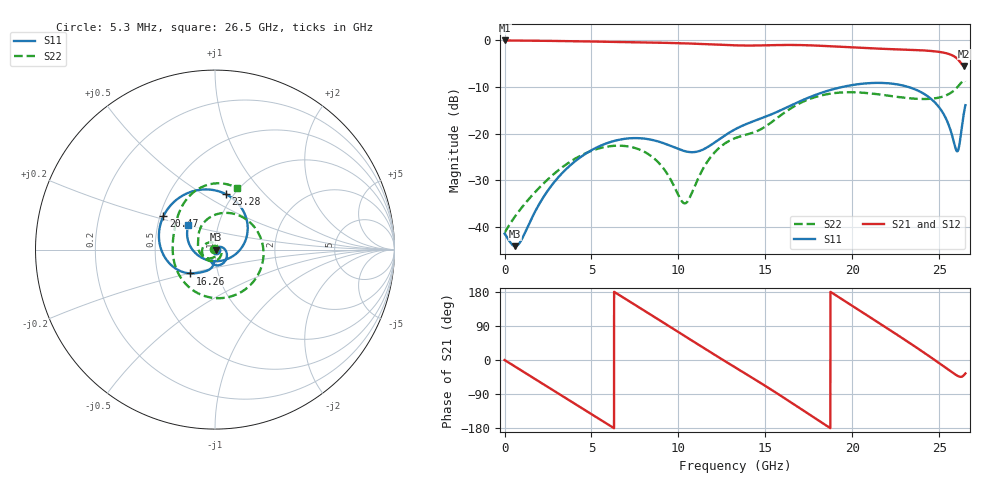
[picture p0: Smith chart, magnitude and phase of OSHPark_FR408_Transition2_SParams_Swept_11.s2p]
! TOUCHSTONE file generated by CST MICROWAVE STUDIO
! Date and time: Tue Jan  7 09:43:18 2020
! Project name: OSHPark_FR408_Transition2.cst
! Parameters = {GND_Plane_XMax=12.25; Cap_Disk_XOffset=0; Cap_Disk2_YCenter=-1.03; Cap_Disk_YCenter=1.03; Cap_Disk_XCenter=7.39; Cap_Disk_Radius=0.5; BottomSupport_Left_YMax=4.76; BottomSupport_Left_YMin=3.74; BottomSupport_Right_YMax=-3.74; BottomSupport_Right_YMin=-4.76; BottomSupport_XMax=11.64; 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
! Header version: 2015
! Port assignment regex: !\s*Touchstone port\s*([0-9]+)\s*=\s*CST MWS port\s*([0-9]+)\s*\(\"(.*)\"\)(\s*mode\s*([0-9]+))?.*
! Touchstone port assignment:
! Touchstone port 1 = CST MWS port 1 ("")
! Touchstone port 2 = CST MWS port 2 ("")
# GHz S MA R 50
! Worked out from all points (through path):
!   5000 points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, 5.3 MHz to 26.5 GHz, reference 50 ohm
!   highest |S21| = 0.00 dB at 5.3 MHz (marker M1); lowest = -5.5 dB at 26.4 GHz (marker M2)
!   group delay of S21, straight-line fit = 80.7 ps
!   lowest |S11| = -44.1 dB at 620.1 MHz (marker M3), VSWR 1.01, Z = 50.6 - j0.0211 ohm
!   |S11| at or under -10 dB: start of sweep to 19.39 GHz; 23.25 GHz to end of sweep
!   |S22| runs from -41.1 to -8.6 dB; largest |S21 - S12| = 0
!   S11 on the Smith chart (normalised r, x): 5.3 MHz: 1.01, -0.01; 16.26 GHz: 0.73, -0.20; 20.47 GHz: 0.52, +0.22; 23.28 GHz: 0.92, +0.63; 26.5 GHz: 0.72, +0.21
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0.0053  0.008508 -34.9  1 -0.2  1 -0.2  0.008795 142.5
0.6201  0.006242 -1.9  0.9981 -17.7  0.9981 -17.7  0.01313 98.4
2.6076  0.02638 34.8  0.9895 -74.5  0.9895 -74.5  0.03398 -6.4
4.4255  0.0571 -1.3  0.9784 -126.5  0.9784 -126.5  0.0589 -77.8
5.5279  0.07456 -27.0  0.9707 -158.0  0.9707 -158.0  0.07043 -116.2
6.5561  0.08598 -51.0  0.9633 172.7  0.9633 172.7  0.07454 -151.0
7.6055  0.08985 -74.1  0.9557 142.6  0.9557 142.6  0.06937 172.8
8.8404  0.08265 -96.5  0.9462 107.2  0.9462 107.2  0.04943 125.3
10.3986  0.06489 -105.9  0.9303 62.2  0.9303 62.2  0.01799 -0.5
11.8561  0.07555 -95.8  0.9083 20.2  0.9083 20.2  0.05636 -119.8
13.2553  0.1116 -104.1  0.8867 -19.3  0.8867 -19.3  0.08964 -174.8
14.9036  0.1497 -122.1  0.8858 -65.7  0.8858 -65.7  0.1165 143.1
16.2551  0.1926 -136.5  0.8949 -105.4  0.8949 -105.4  0.1766 102.9
17.6702  0.2521 -157.7  0.8853 -148.0  0.8853 -148.0  0.2407 45.8
19.0058  0.304 177.6  0.8609 172.0  0.8609 172.0  0.2734 -10.5
20.4739  0.3423 147.1  0.8324 128.7  0.8324 128.7  0.2764 -68.0
22.0851  0.3473 110.0  0.8098 81.3  0.8098 81.3  0.2559 -121.8
23.2776  0.3149 79.0  0.7956 45.4  0.7956 45.4  0.2402 -155.3
24.698  0.2211 34.5  0.7661 1.2  0.7661 1.2  0.2392 168.6
26.0018  0.06528 -83.4  0.6446 -40.6  0.6446 -40.6  0.3105 124.2
26.4046  0.1624 159.4  0.5331 -40.4  0.5331 -40.4  0.3706 85.2
26.5  0.2025 136.2  0.5579 -35.4  0.5579 -35.4  0.362 68.9
